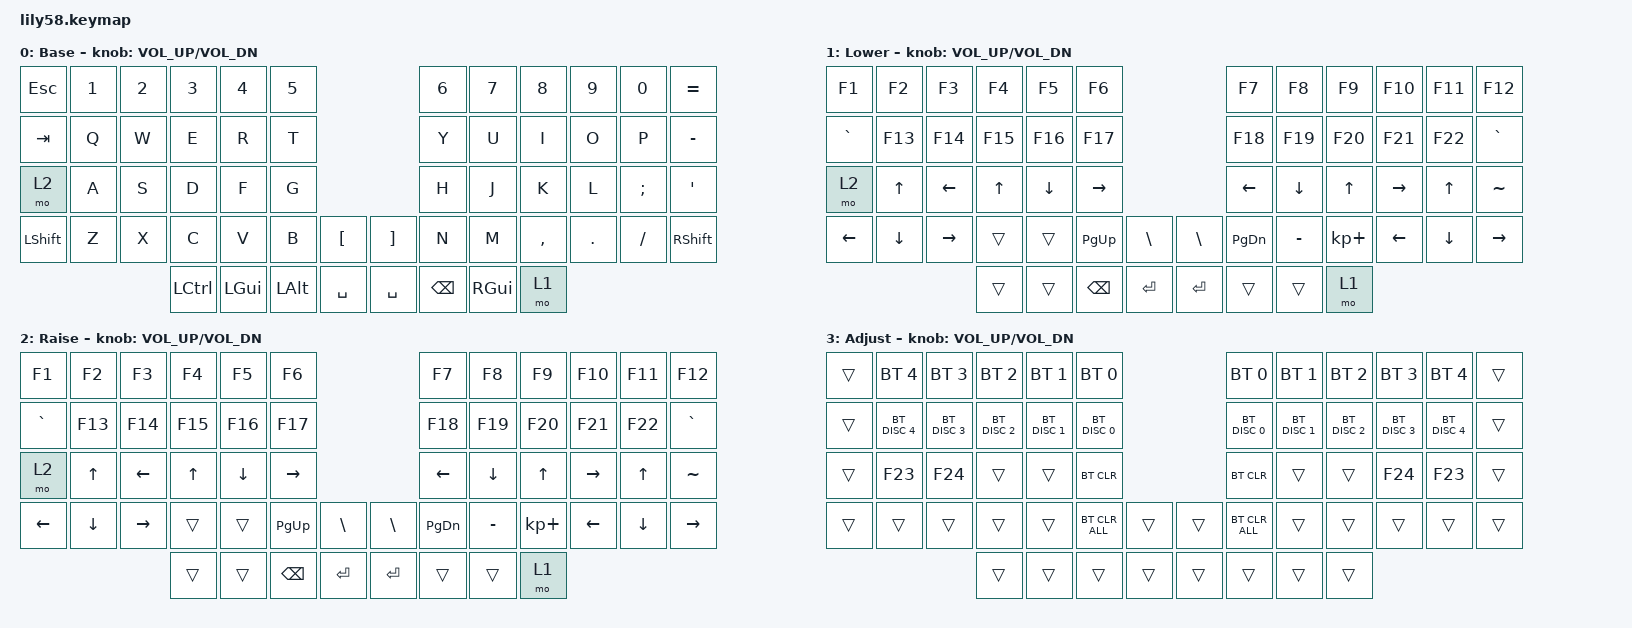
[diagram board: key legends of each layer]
/*
 * Copyright (c) 2020 The ZMK Contributors
 *
 * SPDX-License-Identifier: MIT
 */

#include <behaviors.dtsi>
#include <dt-bindings/zmk/bt.h>
#include <dt-bindings/zmk/keys.h>

/ {
    keymap {
        compatible = "zmk,keymap";

        default_layer {
            // ------------------------------------------------------------------------------------------------------------
            // |  ESC  |  1  |  2  |  3   |  4   |  5   |                   |  6   |  7    |  8    |  9   |   0   |   `   |
            // |  TAB  |  Q  |  W  |  E   |  R   |  T   |                   |  Y   |  U    |  I    |  O   |   P   |   -   |
            // |  CTRL |  A  |  S  |  D   |  F   |  G   |                   |  H   |  J    |  K    |  L   |   ;   |   '   |
            // | SHIFT |  Z  |  X  |  C   |  V   |  B   |   "["  |  |  "]"  |  N   |  M    |  ,    |  .   |   /   | SHIFT |
            //                     | ALT  | GUI  | LOWER|  SPACE |  | ENTER | RAISE| BSPC  | GUI   |

            display-name = "Base";
            bindings = <
&kp ESC    &kp N1  &kp N2  &kp N3     &kp N4    &kp N5                            &kp N6         &kp N7    &kp N8     &kp N9   &kp N0    &kp EQUAL
&kp TAB    &kp Q   &kp W   &kp E      &kp R     &kp T                             &kp Y          &kp U     &kp I      &kp O    &kp P     &kp MINUS
&mo 2      &kp A   &kp S   &kp D      &kp F     &kp G                             &kp H          &kp J     &kp K      &kp L    &kp SEMI  &kp SQT
&kp LSHFT  &kp Z   &kp X   &kp C      &kp V     &kp B     &kp LBKT     &kp RBKT   &kp N          &kp M     &kp COMMA  &kp DOT  &kp FSLH  &kp RSHFT
                           &kp LCTRL  &kp LGUI  &kp LALT  &kp SPACE    &kp SPACE  &kp BACKSPACE  &kp RGUI  &mo 1
            >;

            sensor-bindings = <&inc_dec_kp C_VOL_UP C_VOL_DN>;
        };

        lower_layer {
            // ------------------------------------------------------------------------------------------------------------
            // | BTCLR | BT1 | BT2 |  BT3 |  BT4 |  BT5 |                   |      |       |       |      |       |       |
            // |  F1   |  F2 |  F3 |  F4  |  F5  |  F6  |                   |  F7  |  F8   |  F9   |  F10 |  F11  |  F12  |
            // |   `   |  !  |  @  |  #   |  $   |  %   |                   |  ^   |  &    |  *    |  (   |   )   |   ~   |
            // |       |     |     |      |      |      |        |  |       |      |  _    |  +    |  {   |   }   |  "|"  |
            //                     |      |      |      |        |  |       |      |       |       |

            display-name = "Lower";
            bindings = <
&kp F1     &kp F2    &kp F3          &kp F4   &kp F5    &kp F6                                         &kp F7         &kp F8     &kp F9       &kp F10    &kp F11   &kp F12
&kp GRAVE  &kp F13   &kp F14         &kp F15  &kp F16   &kp F17                                        &kp F18        &kp F19    &kp F20      &kp F21    &kp F22   &kp GRAVE
&mo 2      &kp UP    &kp LEFT_ARROW  &kp UP   &kp DOWN  &kp RIGHT                                      &kp LEFT       &kp DOWN   &kp UP       &kp RIGHT  &kp UP    &kp TILDE
&kp LEFT   &kp DOWN  &kp RIGHT       &trans   &trans    &kp PAGE_UP    &kp BACKSLASH    &kp BACKSLASH  &kp PAGE_DOWN  &kp MINUS  &kp KP_PLUS  &kp LEFT   &kp DOWN  &kp RIGHT
                                     &trans   &trans    &kp BACKSPACE  &kp ENTER        &kp ENTER      &trans         &trans     &mo 1
            >;

            sensor-bindings = <&inc_dec_kp C_VOL_UP C_VOL_DN>;
        };

        raise_layer {
            display-name = "Raise";
            bindings = <
&kp F1     &kp F2    &kp F3          &kp F4   &kp F5    &kp F6                                         &kp F7         &kp F8     &kp F9       &kp F10    &kp F11   &kp F12
&kp GRAVE  &kp F13   &kp F14         &kp F15  &kp F16   &kp F17                                        &kp F18        &kp F19    &kp F20      &kp F21    &kp F22   &kp GRAVE
&mo 2      &kp UP    &kp LEFT_ARROW  &kp UP   &kp DOWN  &kp RIGHT                                      &kp LEFT       &kp DOWN   &kp UP       &kp RIGHT  &kp UP    &kp TILDE
&kp LEFT   &kp DOWN  &kp RIGHT       &trans   &trans    &kp PAGE_UP    &kp BACKSLASH    &kp BACKSLASH  &kp PAGE_DOWN  &kp MINUS  &kp KP_PLUS  &kp LEFT   &kp DOWN  &kp RIGHT
                                     &trans   &trans    &kp BACKSPACE  &kp ENTER        &kp ENTER      &trans         &trans     &mo 1
            >;

            sensor-bindings = <&inc_dec_kp C_VOL_UP C_VOL_DN>;
        };

        adjust {
            // ------------------------------------------------------------------------------------------------------------
            // |       |     |     |      |      |      |                   |      |       |       |      |       |       |
            // |   `   |  1  |  2  |  3   |  4   |  5   |                   |  6   |   7   |   8   |  9   |   0   |       |
            // |   F1  |  F2 |  F3 |  F4  |  F5  |  F6  |                   |      |   <-  |   v   |  ^   |  ->   |       |
            // |   F7  |  F8 |  F9 |  F10 |  F11 |  F12 |        |  |       |  +   |   -   |   =   |  [   |   ]   |   \   |
            //                     |      |      |      |        |  |       |      |       |       |

            display-name = "Adjust";
            bindings = <
&trans  &bt BT_SEL 4   &bt BT_SEL 3   &bt BT_SEL 2   &bt BT_SEL 1   &bt BT_SEL 0                      &bt BT_SEL 0    &bt BT_SEL 1   &bt BT_SEL 2   &bt BT_SEL 3   &bt BT_SEL 4   &trans
&trans  &bt BT_DISC 4  &bt BT_DISC 3  &bt BT_DISC 2  &bt BT_DISC 1  &bt BT_DISC 0                     &bt BT_DISC 0   &bt BT_DISC 1  &bt BT_DISC 2  &bt BT_DISC 3  &bt BT_DISC 4  &trans
&trans  &kp F23        &kp F24        &trans         &trans         &bt BT_CLR                        &bt BT_CLR      &trans         &trans         &kp F24        &kp F23        &trans
&trans  &trans         &trans         &trans         &trans         &bt BT_CLR_ALL  &trans    &trans  &bt BT_CLR_ALL  &trans         &trans         &trans         &trans         &trans
                                      &trans         &trans         &trans          &trans    &trans  &trans          &trans         &trans
            >;

            sensor-bindings = <&inc_dec_kp C_VOL_UP C_VOL_DN>;
        };

        extra_1 { status = "reserved"; };

        extra_2 { status = "reserved"; };

        extra_3 { status = "reserved"; };
    };

    conditional_layers {
        compatible = "zmk,conditional-layers";

        adj {
            if-layers = <1 2>;
            then-layer = <3>;
        };
    };
};
